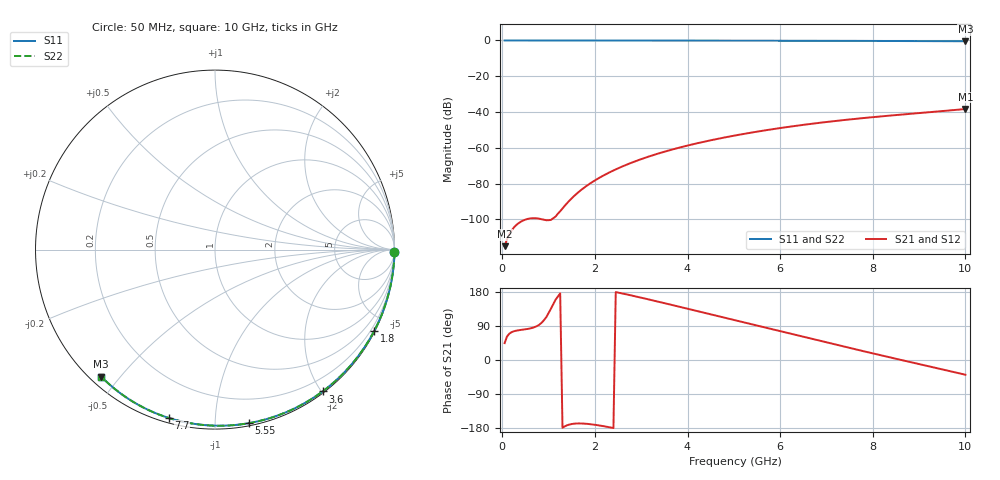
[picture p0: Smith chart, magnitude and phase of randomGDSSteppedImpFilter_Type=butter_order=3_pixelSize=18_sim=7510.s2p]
! freq	dB(S11)	phase(S11)	dB(S12)	phase(S12)
!  dB(S21)	phase(S21)	dB(S22)	phase(S22)
!S-par simulation data
#  GHz  S  DB  R 50
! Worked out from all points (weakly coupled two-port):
!   200 points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, 50 MHz to 10 GHz, reference 50 ohm
!   highest |S21| = -38.34 dB at 10 GHz (marker M1); lowest = -115.0 dB at 50 MHz (marker M2)
!   lowest |S11| = -0.4 dB at 10 GHz (marker M3), VSWR 39.06, Z = 1.54 - j22.3 ohm
!   |S11| at or under -10 dB: nowhere
!   |S22| runs from -0.4 to 0.0 dB; largest |S21 - S12| = 0
!   S11 on the Smith chart (normalised r, x): 50 MHz: open; 1.8 GHz: 0.04, -4.16; 3.6 GHz: 0.02, -2.01; 5.55 GHz: 0.02, -1.21; 7.7 GHz: 0.02, -0.76; 10 GHz: 0.03, -0.45
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0.05  -0.00 -0.8  -115.03 44.5  -115.03 44.5  -0.00 -0.8
0.45  -0.01 -6.9  -100.68 80.2  -100.68 80.2  -0.01 -6.9
0.9  -0.02 -13.6  -100.28 105.2  -100.28 105.2  -0.02 -13.6
1.75  -0.03 -26.3  -82.65 -167.8  -82.65 -167.8  -0.03 -26.3
1.8  -0.03 -27.0  -81.69 -168.2  -81.69 -168.2  -0.03 -27.0
1.9  -0.04 -28.5  -79.91 -169.4  -79.91 -169.4  -0.04 -28.5
2.05  -0.04 -30.7  -77.48 -171.9  -77.48 -171.9  -0.04 -30.7
2.25  -0.04 -33.6  -74.61 -176.0  -74.61 -176.0  -0.04 -33.6
2.45  -0.05 -36.5  -72.08 179.2  -72.08 179.2  -0.05 -36.5
2.65  -0.05 -39.4  -69.82 174.0  -69.82 174.0  -0.05 -39.4
3  -0.06 -44.4  -66.35 164.4  -66.35 164.4  -0.06 -44.4
3.4  -0.07 -50.0  -62.98 153.0  -62.98 153.0  -0.07 -50.0
3.6  -0.07 -52.8  -61.47 147.1  -61.47 147.1  -0.07 -52.8
4.3  -0.09 -62.4  -56.95 126.5  -56.95 126.5  -0.09 -62.4
5.05  -0.11 -72.4  -53.02 104.3  -53.02 104.3  -0.11 -72.4
5.55  -0.13 -78.9  -50.78 89.5  -50.78 89.5  -0.13 -78.9
6.1  -0.15 -85.9  -48.61 73.2  -48.61 73.2  -0.15 -85.9
6.7  -0.18 -93.3  -46.52 55.4  -46.52 55.4  -0.18 -93.3
7.7  -0.24 -105.4  -43.64 26.1  -43.64 26.1  -0.24 -105.4
8.35  -0.29 -113.0  -42.06 7.5  -42.06 7.5  -0.29 -113.0
9.15  -0.36 -122.2  -40.27 -14.8  -40.27 -14.8  -0.36 -122.2
10  -0.44 -131.9  -38.34 -38.8  -38.34 -38.8  -0.44 -131.9
